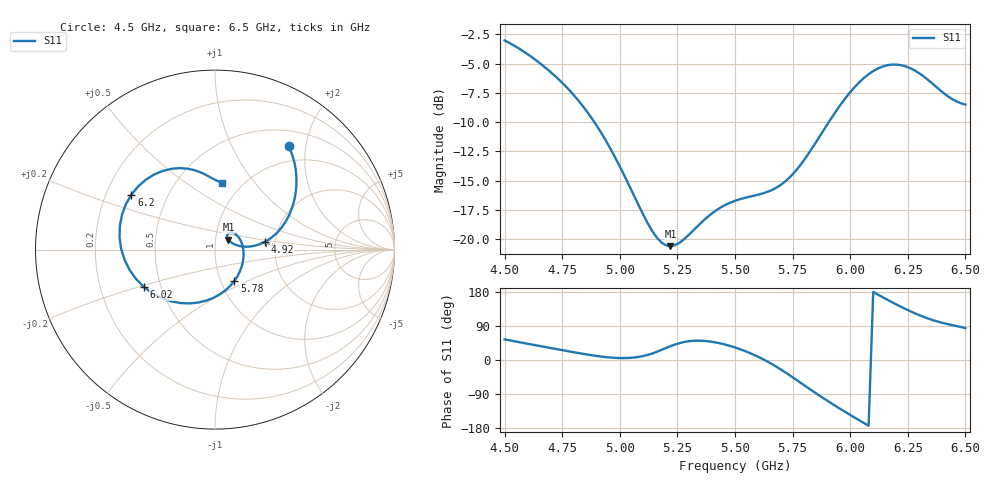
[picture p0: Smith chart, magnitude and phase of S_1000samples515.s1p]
! TOUCHSTONE file generated by CST MICROWAVE STUDIO
! Date and time: Fri Oct 28 10:38:02 2022
! Project name: L.cst
! Parameters = {Di=1.27; Epsilon_r=1.56; InnerDiameter=1.27; Length=2; Lf=10; Lg=60; OuterConductorThickness=0.2921; OuterDiameter=3.6; Wf=3; Wp=41.2; de=1.5; df=6.8; g=0.8; gx=0.678321; gy=1.24149; h=2.34; hf=1.524; px=10.3483; py=10.5902; w=9.7; wx=9.67001; wy=9.34869}
! Header version: 2018
! Port assignment regex: !\s*Touchstone port\s*([0-9]+)\s*=\s*(CST MWS port|CST DS port)\s*([0-9]+|Zmin|Zmax)\s*\(\"(.*)\"\)(\s*mode\s*([0-9]+))?.*
! Touchstone port assignment:
! Touchstone port 1 = CST MWS port 1 ("")
# GHz S DB R 50
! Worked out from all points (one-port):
!   101 points, 4.5 GHz to 6.5 GHz, reference 50 ohm
!   lowest |S11| = -20.6 dB at 5.22 GHz (marker M1), VSWR 1.21, Z = 57.7 + j6.44 ohm
!   |S11| at or under -10 dB: 4.889 GHz to 5.907 GHz (1.018 GHz wide, 18.9 % of centre)
!   S11 on the Smith chart (normalised r, x): 4.5 GHz: 0.74, +1.70; 4.92 GHz: 1.77, +0.17; 5.78 GHz: 1.16, -0.42; 6.02 GHz: 0.40, -0.21; 6.2 GHz: 0.31, +0.27; 6.5 GHz: 0.81, +0.70
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4.5  -3.01 54.5
4.62  -4.47 40.6
4.76  -6.83 24.9
4.84  -8.64 16.3
4.92  -10.94 9.0
5  -13.80 5.1
5.14  -19.29 17.0
5.18  -20.29 26.4
5.22  -20.62 36.4
5.26  -20.31 44.7
5.4  -17.81 48.0
5.5  -16.73 33.1
5.66  -15.81 -10.7
5.76  -14.25 -49.7
5.78  -13.77 -58.1
5.84  -12.07 -83.1
5.9  -10.22 -107.2
5.96  -8.46 -130.2
6  -7.44 -145.0
6.02  -6.99 -152.3
6.08  -5.90 -173.5
6.12  -5.42 172.8
6.16  -5.14 159.5
6.2  -5.08 146.7
6.26  -5.38 128.9
6.32  -6.11 113.5
6.38  -7.10 101.3
6.5  -8.50 84.2
